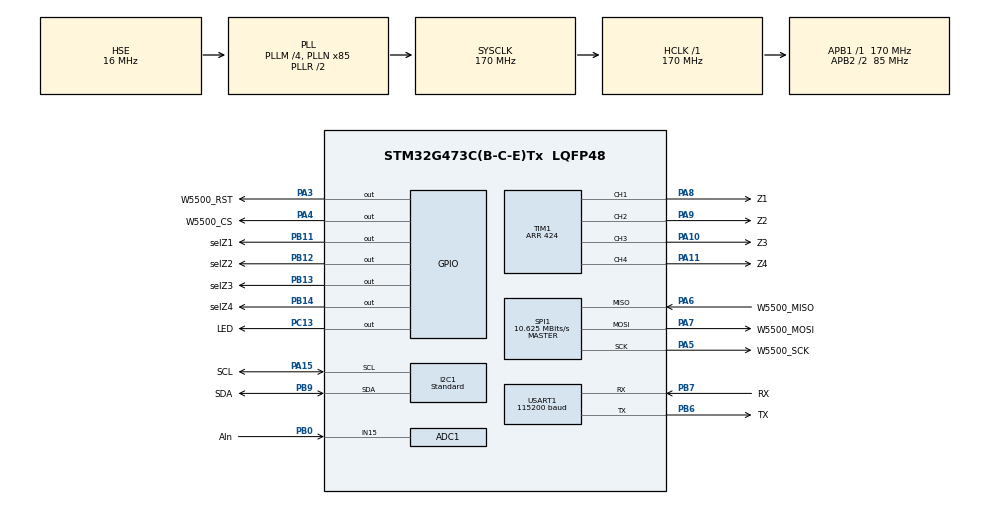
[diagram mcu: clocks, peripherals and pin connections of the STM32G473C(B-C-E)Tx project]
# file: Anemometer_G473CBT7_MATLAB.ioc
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ADC1.Channel-0\#ChannelRegularConversion=ADC_CHANNEL_15
ADC1.ContinuousConvMode=ENABLE
ADC1.DMAContinuousRequests=ENABLE
ADC1.EOCSelection=ADC_EOC_SEQ_CONV
ADC1.ExternalTrigConv=ADC_EXTERNALTRIG_T3_TRGO
ADC1.Mode=ADC_MODE_INDEPENDENT
ADC1.NbrOfConversionFlag=1
ADC1.OffsetNumber-0\#ChannelRegularConversion=ADC_OFFSET_NONE
ADC1.Rank-0\#ChannelRegularConversion=1
ADC1.Resolution=ADC_RESOLUTION_10B
ADC1.SamplingTime-0\#ChannelRegularConversion=ADC_SAMPLETIME_2CYCLES_5
ADC1.master=1
Dma.ADC1.0.Direction=DMA_PERIPH_TO_MEMORY
Dma.ADC1.0.EventEnable=DISABLE
Dma.ADC1.0.Instance=DMA1_Channel1
Dma.ADC1.0.MemDataAlignment=DMA_MDATAALIGN_HALFWORD
Dma.ADC1.0.MemInc=DMA_MINC_ENABLE
Dma.ADC1.0.Mode=DMA_NORMAL
Dma.ADC1.0.PeriphDataAlignment=DMA_PDATAALIGN_HALFWORD
Dma.ADC1.0.PeriphInc=DMA_PINC_DISABLE
Dma.ADC1.0.Polarity=HAL_DMAMUX_REQ_GEN_RISING
Dma.ADC1.0.Priority=DMA_PRIORITY_LOW
Dma.ADC1.0.RequestNumber=1
Dma.ADC1.0.SignalID=NONE
Dma.ADC1.0.SyncEnable=DISABLE
Dma.ADC1.0.SyncPolarity=HAL_DMAMUX_SYNC_NO_EVENT
Dma.ADC1.0.SyncRequestNumber=1
Dma.ADC1.0.SyncSignalID=NONE
Dma.Request0=ADC1
I2C1.I2C_Speed_Mode=I2C_Standard
I2C1.Timing=0x30A0A7FB
IWDG.Prescaler=IWDG_PRESCALER_256
Mcu.Family=STM32G4
Mcu.Name=STM32G473C(B-C-E)Tx
Mcu.Package=LQFP48
NVIC.DMA1_Channel1_IRQn=true\:0\:0\:false\:false\:true\:false\:true\:true
NVIC.PriorityGroup=NVIC_PRIORITYGROUP_4
NVIC.TIM3_IRQn=true\:0\:0\:false\:false\:true\:true\:true\:true
NVIC.TIM4_IRQn=true\:0\:0\:false\:false\:true\:true\:true\:true
PA10.GPIO_Label=Z3
PA10.Signal=S_TIM1_CH3
PA11.GPIO_Label=Z4
PA11.Signal=S_TIM1_CH4
PA15.GPIO_Label=SCL
PA15.GPIO_Pu=GPIO_PULLUP
PA15.Mode=I2C
PA15.Signal=I2C1_SCL
PA3.GPIO_Label=W5500_RST
PA3.Signal=GPIO_Output
PA4.GPIO_Label=W5500_CS
PA4.Signal=GPIO_Output
PA5.GPIO_Label=W5500_SCK
PA5.Mode=Full_Duplex_Master
PA5.Signal=SPI1_SCK
PA6.GPIO_Label=W5500_MISO
PA6.Mode=Full_Duplex_Master
PA6.Signal=SPI1_MISO
PA7.GPIO_Label=W5500_MOSI
PA7.Mode=Full_Duplex_Master
PA7.Signal=SPI1_MOSI
PA8.GPIO_Label=Z1
PA8.Signal=S_TIM1_CH1
PA9.GPIO_Label=Z2
PA9.Signal=S_TIM1_CH2
PB0.GPIO_Label=AIn
PB0.Mode=IN15-Single-Ended
PB0.Signal=ADC1_IN15
PB11.GPIO_Label=selZ1
PB11.Signal=GPIO_Output
PB12.GPIO_Label=selZ2
PB12.Signal=GPIO_Output
PB13.GPIO_Label=selZ3
PB13.Signal=GPIO_Output
PB14.GPIO_Label=selZ4
PB14.Signal=GPIO_Output
PB6.GPIO_Label=TX
PB6.Mode=Asynchronous
PB6.Signal=USART1_TX
PB7.GPIO_Label=RX
PB7.Mode=Asynchronous
PB7.Signal=USART1_RX
PB9.GPIO_Label=SDA
PB9.GPIO_Pu=GPIO_PULLUP
PB9.Mode=I2C
PB9.Signal=I2C1_SDA
PC13.GPIO_Label=LED
PC13.Signal=GPIO_Output
PF0-OSC_IN.Mode=HSE-External-Oscillator
PF0-OSC_IN.Signal=RCC_OSC_IN
PF1-OSC_OUT.Mode=HSE-External-Oscillator
PF1-OSC_OUT.Signal=RCC_OSC_OUT
ProjectManager.HeapSize=0x200
ProjectManager.StackSize=0x400
ProjectManager.TargetToolchain=STM32CubeIDE
RCC.ADC12Freq_Value=170000000
RCC.ADC345Freq_Value=170000000
RCC.AHBFreq_Value=170000000
RCC.APB1Freq_Value=170000000
RCC.APB1TimFreq_Value=170000000
RCC.APB2CLKDivider=RCC_HCLK_DIV2
RCC.APB2Freq_Value=85000000
RCC.APB2TimFreq_Value=170000000
RCC.CortexFreq_Value=170000000
RCC.EXTERNAL_CLOCK_VALUE=12288000
RCC.HCLKFreq_Value=170000000
RCC.HSE_VALUE=16000000
RCC.HSI48_VALUE=48000000
RCC.HSI_VALUE=16000000
RCC.LSE_VALUE=32768
RCC.PLLM=RCC_PLLM_DIV4
RCC.PLLN=85
RCC.PLLSourceVirtual=RCC_PLLSOURCE_HSE
RCC.SYSCLKFreq_VALUE=170000000
RCC.SYSCLKSource=RCC_SYSCLKSOURCE_PLLCLK
RCC.USART1CLockSelection=RCC_USART1CLKSOURCE_HSI
RCC.USBFreq_Value=170000000
RCC.VCOOutputFreq_Value=340000000
SH.S_TIM1_CH1.0=TIM1_CH1,Output Compare1 CH1
SH.S_TIM1_CH2.0=TIM1_CH2,Output Compare2 CH2
SH.S_TIM1_CH3.0=TIM1_CH3,Output Compare3 CH3
SH.S_TIM1_CH4.0=TIM1_CH4,Output Compare4 CH4
SPI1.BaudRatePrescaler=SPI_BAUDRATEPRESCALER_8
SPI1.CLKPhase=SPI_PHASE_1EDGE
SPI1.CalculateBaudRate=10.625 MBits/s
SPI1.DataSize=SPI_DATASIZE_8BIT
SPI1.Direction=SPI_DIRECTION_2LINES
SPI1.Mode=SPI_MODE_MASTER
SPI1.NSSPMode=SPI_NSS_PULSE_DISABLE
SPI1.VirtualType=VM_MASTER
TIM1.AutoReloadPreload=TIM_AUTORELOAD_PRELOAD_ENABLE
TIM1.Channel-Output\ Compare1\ CH1=TIM_CHANNEL_1
TIM1.Channel-Output\ Compare2\ CH2=TIM_CHANNEL_2
TIM1.Channel-Output\ Compare3\ CH3=TIM_CHANNEL_3
TIM1.Channel-Output\ Compare4\ CH4=TIM_CHANNEL_4
TIM1.OCMode_1=TIM_OCMODE_TOGGLE
TIM1.OCMode_2=TIM_OCMODE_TOGGLE
TIM1.OCMode_3=TIM_OCMODE_TOGGLE
TIM1.OCMode_4=TIM_OCMODE_TOGGLE
TIM1.PeriodNoDither=424
TIM1.RepetitionCounter=13
TIM1.TIM_MasterOutputTrigger=TIM_TRGO_ENABLE
TIM1.TIM_MasterOutputTrigger2=TIM_TRGO2_RESET
TIM3.AutoReloadPreload=TIM_AUTORELOAD_PRELOAD_ENABLE
TIM3.Channel-Output\ Compare1\ No\ Output=TIM_CHANNEL_1
TIM3.OCMode_1=TIM_OCMODE_ACTIVE
TIM3.PeriodNoDither=30000
TIM3.Prescaler=1
TIM3.TIM_MasterOutputTrigger=TIM_TRGO_UPDATE
TIM4.Prescaler=2
USART1.BaudRate=115200
USART1.VirtualMode-Asynchronous=VM_ASYNC
VP_IWDG_VS_IWDG.Mode=IWDG_Activate
VP_TIM1_VS_ClockSourceINT.Mode=Internal
VP_TIM1_VS_OPM.Mode=OPM_bit
VP_TIM3_VS_ClockSourceINT.Mode=Internal
VP_TIM3_VS_ClockSourceITR.Mode=TriggerSource_ITR0
VP_TIM3_VS_ControllerModeTrigger.Mode=Trigger Mode
VP_TIM3_VS_OPM.Mode=OPM_bit
VP_TIM3_VS_no_output1.Mode=Output Compare1 No Output
VP_TIM4_VS_ClockSourceINT.Mode=Internal
board=custom

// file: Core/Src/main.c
/* USER CODE BEGIN Header */
/**
  ******************************************************************************
  * @file           : main.c
  * @brief          : Main program body
  ******************************************************************************
  * @attention
  *
  * Copyright (c) 2023 STMicroelectronics.
  * All rights reserved.
  *
  * This software is licensed under terms that can be found in the LICENSE file
  * in the root directory of this software component.
  * If no LICENSE file comes with this software, it is provided AS-IS.
  *
  ******************************************************************************
  */
/* USER CODE END Header */
#include "main.h"

ADC_HandleTypeDef hadc1;
DMA_HandleTypeDef hdma_adc1;

I2C_HandleTypeDef hi2c1;

IWDG_HandleTypeDef hiwdg;

SPI_HandleTypeDef hspi1;

TIM_HandleTypeDef htim1;
TIM_HandleTypeDef htim3;
TIM_HandleTypeDef htim4;

UART_HandleTypeDef huart1;

/* USER CODE BEGIN PV */
uint8_t currentLevel = 0;
char SndBuffer[150];
float convArray[CONVERSION_COUNT + REF_COUNT], hilbertArray[CONVERSION_COUNT + REF_COUNT], temperature, pressurePA, pressure, humidity, Vsound, Vcapture, Vhilbert;
char ZabbixHostName[255];

#ifdef ZABBIX_ENABLE
wiz_NetInfo net_info = {
	.mac  = { MAC_ADDRESS },
	.dhcp = NETINFO_DHCP
};
uint8_t ntp_server[4] = {192, 168, 1, 1};
uint8_t gDATABUF[DATA_BUF_SIZE];
datetime timeNTP;
#endif

/* USER CODE END PV */

void SystemClock_Config(void);
static void MX_GPIO_Init(void);
static void MX_DMA_Init(void);
static void MX_ADC1_Init(void);
static void MX_I2C1_Init(void);
static void MX_TIM1_Init(void);
static void MX_USART1_UART_Init(void);
static void MX_TIM3_Init(void);
static void MX_TIM4_Init(void);
static void MX_SPI1_Init(void);
static void MX_IWDG_Init(void);

/* USER CODE BEGIN 0 */
#ifdef  AD5245
/* Управление усилением от 0 до 254 */
void AD5245level(uint8_t lev) {
	uint8_t cmdBuff[2];
	uint16_t cmd = AD5245_WRITE;
	cmdBuff[0] = lev;
	HAL_I2C_Mem_Write(&AD5245_I2C_PORT, AD5245_I2C_ADDR, cmd, 2, cmdBuff, 1, 100);
}
#endif

float refArray[] =
{
		2.28, 138.9, 259.46, 341.44, 371.37, 343.68, 262.94, 140.04, -3.19, -152.73, -279.78, -363.84, -393.94, -359.52,
		-270.72, -140.36, 14.56, 172.63, 308.52, 397.91, 425.98, 386.86, 288.47, 145.38, -19.68, -182.24, -320.15, -407.98,
		-435.57, -390.93, -287.65, -139.02, 32.45, 205.05, 349.22, 438.44, 458.1, 406.8, 293.49, 134.79, -44.07, -217.9,
		-359.9, -445.68, -462.97, -405.04, -287.03, -124.67, 60.95, 241.26, 386.1, 468.68, 476.66, 409.93, 280.64, 108.21,
		-80.78, -258.3, -394.98, -471.05, -470.27, -394.48, -259.97, -84.96, 106.47, 284.93, 419.91, 485.95, 473.47, 385.76,
		239.06, 57, -135.29, -301.7, -419.09, -473.45, -448.32, -353.63, -206.27, -26.62, 161.84, 325.34, 436.21, 473.4,
		434.69, 326.85, 170.75, -9.88, -186.54, -333.22, -422.28, -446.07, -395.94, -284.51, -132.44, 41.1, 210.02, 343.13,
		418.44, 424.17, 362.02, 244.03, 89.94, -74.61, -224.34, -337.17, -392.04, -383.43, -314.1, -198.75, -55, 94.86,
		229, 323.18, 362.81, 342.79, 269.26, 155.4, 20.71, -112.07, -224.6, -298.31, -321.97, -294.18, -223.14, -120.4,
		-2.81, 113.04, 208.17, 266.86, 281.61, 250.84, 182.99, 89.89, -12.97, -108.2, -185.37, -230.21, -238.69, -210.58

};

#ifdef ZABBIX_ENABLE

#ifdef ZABBIX_DEBUG
void UART_Printf(const char* fmt, ...) {
	char buff[256];
	va_list args;
	va_start(args, fmt);
	vsnprintf(buff, sizeof(buff), fmt, args);
	HAL_UART_Transmit(&huart1, (uint8_t*) buff, strlen(buff), HAL_MAX_DELAY);
	va_end(args);
}
#endif

void W5500_Select(void) {
	HAL_GPIO_WritePin(W5500_CS_GPIO_Port, W5500_CS_Pin, GPIO_PIN_RESET);
}

void W5500_Unselect(void) {
	HAL_GPIO_WritePin(W5500_CS_GPIO_Port, W5500_CS_Pin, GPIO_PIN_SET);
}

void W5500_ReadBuff(uint8_t* buff, uint16_t len) {
	HAL_SPI_Receive(&hspi1, buff, len, HAL_MAX_DELAY);
}

void W5500_WriteBuff(uint8_t* buff, uint16_t len) {
	HAL_SPI_Transmit(&hspi1, buff, len, HAL_MAX_DELAY);
}

uint8_t W5500_ReadByte(void) {
	uint8_t byte;
	W5500_ReadBuff(&byte, sizeof(byte));
	return byte;
}

void W5500_WriteByte(uint8_t byte) {
	W5500_WriteBuff(&byte, sizeof(byte));
}

volatile bool ip_assigned = false;

void Callback_IPAssigned(void) {
#ifdef ZABBIX_DEBUG
	UART_Printf("Callback: IP assigned! Leased time: %d sec\r\n", getDHCPLeasetime());
#endif
    ip_assigned = true;
}

void Callback_IPConflict(void) {
#ifdef ZABBIX_DEBUG
    UART_Printf("Callback: IP conflict!\r\n");
#endif
}

// 1K should be enough, see https://forum.wiznet.io/t/topic/1612/2
uint8_t dhcp_buffer[1024];
// 1K seems to be enough for this buffer as well
//uint8_t dns_buffer[1024];

/*
 * addr -- IP address zabbix server, dhcp option 224.
 * Settings for isc-dhcp-server:
 * 		option zabbix-server-ip code 224 = ip-address ;
 * 		option zabix-host-name code 225 = string ;
 * 		host anemometr {
 *      	hardware ethernet 00:11:22:33:44:xx;
 *      	fixed-address 192.168.1.24;
 *       	option zabbix-server-ip 192.168.1.6;
 *       	option zabix-host-name "Ed";
 * 		}
 *
 * key -- Zabbix key: {ALTIM_DIRECT, ALTIM_SPEED}
 *
 * value -- Float value of key.
*/
uint8_t sendToZabbix(uint8_t * addr, char * host, char * key, float value) {
#ifdef ZABBIX_DEBUG
    UART_Printf("Creating socket...\r\n");
#endif
    uint8_t tcp_socket = TCP_SOCKET;
    uint8_t code = socket(tcp_socket, Sn_MR_TCP, 10888, 0);
    if(code != tcp_socket) {
	#ifdef ZABBIX_DEBUG
        UART_Printf("socket() failed, code = %d\r\n", code);
	#endif
        return(-1);
    }
#ifdef ZABBIX_DEBUG
    UART_Printf("Socket created, connecting...\r\n");
#endif
    code = connect(tcp_socket, addr, ZABBIXPORT);
    if(code != SOCK_OK) {
	#ifdef ZABBIX_DEBUG
        UART_Printf("connect() failed, code = %d\r\n", code);
	#endif
        close(tcp_socket);
        return(-2);
    }
#ifdef ZABBIX_DEBUG
    UART_Printf("Connected, sending ZABBIX request...\r\n");
#endif
    {
    	char req[ZABBIXMAXLEN];
    	char str[ZABBIXMAXLEN - 13];
    	sprintf(str, "{\"request\":\"sender data\",\"data\":[{\"host\":\"%.20s\",\"key\":\"%s\",\"value\":\"%f\"}]}", host, key, value);
    	req[0] = 'Z';
    	req[1] = 'B';
		req[2] = 'X';
		req[3] = 'D';
		req[4] = 0x01;
		req[5] = strlen(str);
		req[6] = 0;
		req[7] = 0;
		req[8] = 0;
		req[9] = 0;
		req[10] = 0;
		req[11] = 0;
		req[12] = 0;
		strcpy(req + 13, str);
        //char req[] = "ZBXD\1\0\0\0\0\0\0\0\0{\"request\":\"sender data\",\"data\":[{\"host\":\"Ed\",\"key\":\"ALTIM_DIRECT\",\"value\":\"10\"}]}";
        uint8_t len = req[5] + 13;
        uint8_t* buff = (uint8_t*)&req;
        while(len > 0) {
		#ifdef ZABBIX_DEBUG
            UART_Printf("Sending %d bytes, data length %d bytes...\r\n", len, req[5]);
		#endif
            int32_t nbytes = send(tcp_socket, buff, len);
            if(nbytes <= 0) {
			#ifdef ZABBIX_DEBUG
                UART_Printf("send() failed, %d returned\r\n", nbytes);
			#endif
                close(tcp_socket);
                return(-3);
            }
			#ifdef ZABBIX_DEBUG
            UART_Printf("%d b sent!\r\n", nbytes);
			#endif
            len -= nbytes;
        }
    }
    /* Read data from Zabbix */
	#ifdef ZABBIX_DEBUG
		UART_Printf("Read.\r\n");
		{
			char buff[32];
			for(;;) {
				int32_t nbytes = recv(tcp_socket, (uint8_t*)&buff, sizeof(buff)-1);
				if(nbytes == SOCKERR_SOCKSTATUS) {
					UART_Printf("\r\nDisconnect.\r\n");
					break;
				}

				if(nbytes <= 0) {
					UART_Printf("\r\nrecv() failed, %d\r\n", nbytes);
					break;
				}

				buff[nbytes] = '\0';
				UART_Printf("%s", buff);
			}
		}

		UART_Printf("Closing socket.\r\n");
	#endif
    close(tcp_socket);
    return(0);
}

void init_w5500() {
	#ifdef ZABBIX_DEBUG
    UART_Printf("\r\ninit() called!\r\n");
    UART_Printf("W5500 callbacks...\r\n");
	#endif
    reg_wizchip_cs_cbfunc(W5500_Select, W5500_Unselect);
    reg_wizchip_spi_cbfunc(W5500_ReadByte, W5500_WriteByte);
    reg_wizchip_spiburst_cbfunc(W5500_ReadBuff, W5500_WriteBuff);
	#ifdef ZABBIX_DEBUG
    UART_Printf("wizchip_init()...\r\n");
	#endif
    uint8_t rx_tx_buff_sizes[] = {2, 2, 2, 2, 2, 2, 2, 2};
    wizchip_init(rx_tx_buff_sizes, rx_tx_buff_sizes);
	#ifdef ZABBIX_DEBUG
    UART_Printf("DHCP_init()...\r\n");
	#endif

    // set MAC address before using DHCP
    setSHAR(net_info.mac);
    DHCP_init(DHCP_SOCKET, dhcp_buffer);
	#ifdef ZABBIX_DEBUG
    UART_Printf("DHCP callbacks...\r\n");
	#endif
    reg_dhcp_cbfunc(Callback_IPAssigned, Callback_IPAssigned, Callback_IPConflict);
	#ifdef ZABBIX_DEBUG
    UART_Printf("DHCP_run()...\r\n");
	#endif
    // actually should be called in a loop, e.g. by timer
    uint32_t ctr = 10000;
    while((!ip_assigned) && (ctr > 0)) {
        DHCP_run();
        ctr--;
        HAL_Delay(300);
    }
    if(!ip_assigned) {
		#ifdef ZABBIX_DEBUG
        UART_Printf("\r\nIP was not assigned :(\r\n");
		#endif
        return;
    }

    getIPfromDHCP(net_info.ip);
    getGWfromDHCP(net_info.gw);
    getSNfromDHCP(net_info.sn);
    getZABBIXfromDHCP(net_info.zabbix);
    getHostNamefromDHCP(net_info.hostname);
    //getTimeSrvfromDHCP(net_info.tmsrv);
    if (net_info.hostname[0] == '\0') {
    	sprintf(ZabbixHostName, "%s", ZABBIXAGHOST);
    } else {
    	sprintf(ZabbixHostName, "%s", net_info.hostname);
    }

    //uint8_t dns[4];
    //getDNSfromDHCP(dns);
	#ifdef ZABBIX_DEBUG
    UART_Printf("IP:  %d.%d.%d.%d\r\nGW:  %d.%d.%d.%d\r\nNet: %d.%d.%d.%d\r\nZabbix: %d.%d.%d.%d\r\nHostName:%s\r\n",
        net_info.ip[0], net_info.ip[1], net_info.ip[2], net_info.ip[3],
        net_info.gw[0], net_info.gw[1], net_info.gw[2], net_info.gw[3],
        net_info.sn[0], net_info.sn[1], net_info.sn[2], net_info.sn[3],
        net_info.zabbix[0], net_info.zabbix[1], net_info.zabbix[2], net_info.zabbix[3],
		ZabbixHostName
    );
    UART_Printf("Calling wizchip_setnetinfo()...\r\n");
	#endif
    wizchip_setnetinfo(&net_info);

}
#endif

/* USER CODE END 0 */

int main(void)
{

  /* MCU Configuration--------------------------------------------------------*/

  /* Reset of all peripherals, Initializes the Flash interface and the Systick. */
  HAL_Init();

  /* Configure the system clock */
  SystemClock_Config();

  /* Initialize all configured peripherals */
  MX_GPIO_Init();
  MX_DMA_Init();
  MX_ADC1_Init();
  MX_I2C1_Init();
  MX_TIM1_Init();
  MX_USART1_UART_Init();
  MX_TIM3_Init();
  MX_TIM4_Init();
  MX_SPI1_Init();
  MX_IWDG_Init();
  /* USER CODE BEGIN 2 */
  HAL_GPIO_WritePin(LED_GPIO_Port, LED_Pin, GPIO_PIN_SET);
  HAL_UART_Transmit(&huart1, (uint8_t *) START_TEXT, sizeof(START_TEXT), 1000);
  /* AD5245 */
	#ifdef AD5245
  	  HAL_UART_Transmit(&huart1, (uint8_t *) AD5245_INIT_TEXT, sizeof(AD5245_INIT_TEXT), 1000);
	  currentLevel = 0;
	  AD5245level(currentLevel);
	#endif
	#ifdef BME280_ENABLE
	  HAL_UART_Transmit(&huart1, (uint8_t *) BME280_INIT_TEXT, sizeof(BME280_INIT_TEXT), 1000);
	  BME280_Init();
	  HAL_UART_Transmit(&huart1, (uint8_t *) INIT_OK, sizeof(INIT_OK), 1000);
	#endif

	HAL_GPIO_WritePin(W5500_CS_GPIO_Port, W5500_CS_Pin, GPIO_PIN_SET);
	HAL_GPIO_WritePin(W5500_RST_GPIO_Port, W5500_RST_Pin, GPIO_PIN_RESET);	// Reset W5500
	#ifdef ZABBIX_ENABLE
	HAL_UART_Transmit(&huart1, (uint8_t *) W5500_INIT_TEXT, sizeof(W5500_INIT_TEXT), 1000);
	HAL_GPIO_WritePin(W5500_RST_GPIO_Port, W5500_RST_Pin, GPIO_PIN_SET);
	//HAL_GPIO_WritePin(W5500_CS_GPIO_Port, W5500_CS_Pin, GPIO_PIN_RESET);
	HAL_Delay(3000);
	init_w5500();
    HAL_UART_Transmit(&huart1, (uint8_t *) INIT_OK, sizeof(INIT_OK), 1000);
	//if (net_info.tmsrv[0] == 0) {
	//	  SNTP_init(0, ntp_server, 28, gDATABUF);
	//} else {
	//	  SNTP_init(0, net_info.tmsrv, 28, gDATABUF);
	//}
	#endif
  /* USER CODE END 2 */

  /* Infinite loop */
  /* USER CODE BEGIN WHILE */
  HAL_UART_Transmit(&huart1, (uint8_t *) ADC_TMR_INIT_TEXT, sizeof(ADC_TMR_INIT_TEXT), 1000);
  TIM3->ARR = MEASURMENT_DELAY;

  HAL_GPIO_WritePin(selZ1_GPIO_Port, selZ1_Pin, GPIO_PIN_RESET);
  HAL_GPIO_WritePin(selZ2_GPIO_Port, selZ2_Pin, GPIO_PIN_RESET);
  HAL_GPIO_WritePin(selZ3_GPIO_Port, selZ3_Pin, GPIO_PIN_RESET);
  HAL_GPIO_WritePin(selZ4_GPIO_Port, selZ4_Pin, GPIO_PIN_RESET);

  if ( (HAL_ADCEx_Calibration_Start(&hadc1, ADC_SINGLE_ENDED) == HAL_OK)
	&& (HAL_TIM_Base_Start_IT(&htim3) == HAL_OK)
	&& (HAL_TIM_Base_Start_IT(&htim4) == HAL_OK) ) {
	  HAL_UART_Transmit(&huart1, (uint8_t *) INIT_OK, sizeof(INIT_OK), 1000);
  } else {
	  HAL_UART_Transmit(&huart1, (uint8_t *) ERROR_TEXT, sizeof(ERROR_TEXT), 1000);
	  HAL_Delay(1000);
	  HAL_NVIC_SystemReset();
  }

  HAL_UART_Transmit(&huart1, (uint8_t *) FINISH_TEXT, sizeof(FINISH_TEXT), 1000);
  HAL_GPIO_WritePin(LED_GPIO_Port, LED_Pin, GPIO_PIN_RESET);
  while (1)
  {
	  if (readyData) {
		  readyData = false;
		  HAL_IWDG_Refresh(&hiwdg);
		  HAL_TIM_Base_Stop_IT(&htim4);
		  memset(SndBuffer, 0, sizeof(SndBuffer));
		  for (int ii = 0; ii < CONVERSION_COUNT; ii++) {
			measArray[ii] = measArray[ii] / MEASURE_COUNT - avgLevel;
		  }

		  maxIdxAmp = maxEnvHilbert(measArray, refArray);
		  #ifdef RAW_DATA_OUT
		  //for (int ii = 0; ii < CONVERSION_COUNT + REF_COUNT; ii++) {
			//	sprintf(SndBuffer, "%6.2f \n\r", convArray[ii]);

		  for (int ii = 0; ii < CONVERSION_COUNT; ii++) {
				sprintf(SndBuffer, "%6.2f \n\r", measArray[ii]);
				HAL_UART_Transmit(&huart1, (uint8_t *) SndBuffer, sizeof(SndBuffer), 1000);
		  }
		  HAL_UART_Transmit(&huart1, (uint8_t *) "---\n\r", sizeof("---\n\r"), 1000);
		  #else
		  #ifdef BME280_ENABLE
		  temperature = BME280_ReadTemperature();
		  pressurePA = BME280_ReadPressure();
		  pressure = pressurePA * 0.00750063755419211f;
		  humidity = BME280_ReadHumidity();
		  #endif

		  Vhilbert = DISTANCE * 1000.0f / (MEASURMENT_DELAY * 2 / 170.0f + maxIdxAmp * SAMPLE_RATE - SAMPLE_RATE * REF_COUNT);
		  Vsound = sqrt(1.4 * 8.31446262 * (temperature + ABS_ZERRO) / (0.02898 - 1840000 * exp(-5330 / (temperature + ABS_ZERRO)) * 10.944 / pressurePA * humidity));
		  sprintf(SndBuffer, "Idx:%5.2f, avgLev:%6.2f, Vh:%5.2f, Vs: %5.2f, T: %4.1f, P: %4.1f, H: %4.1f  \r",
				  maxIdxAmp, avgLevel,
				  Vhilbert, Vsound,
				  temperature, pressure, humidity);
		  HAL_UART_Transmit(&huart1, (uint8_t *) SndBuffer, sizeof(SndBuffer), 1000);
		  #endif
		  HAL_TIM_Base_Start_IT(&htim4);
		  //sumCaptureTIM2 = 0;
	  }
	  HAL_Delay(50);
    /* USER CODE END WHILE */

  }
}

void SystemClock_Config(void)
{
  RCC_OscInitTypeDef RCC_OscInitStruct = {0};
  RCC_ClkInitTypeDef RCC_ClkInitStruct = {0};

  /** Configure the main internal regulator output voltage
  */
  HAL_PWREx_ControlVoltageScaling(PWR_REGULATOR_VOLTAGE_SCALE1_BOOST);

  /** Initializes the RCC Oscillators according to the specified parameters
  * in the RCC_OscInitTypeDef structure.
  */
  RCC_OscInitStruct.OscillatorType = RCC_OSCILLATORTYPE_HSI|RCC_OSCILLATORTYPE_LSI
                              |RCC_OSCILLATORTYPE_HSE;
  RCC_OscInitStruct.HSEState = RCC_HSE_ON;
  RCC_OscInitStruct.HSIState = RCC_HSI_ON;
  RCC_OscInitStruct.HSICalibrationValue = RCC_HSICALIBRATION_DEFAULT;
  RCC_OscInitStruct.LSIState = RCC_LSI_ON;
  RCC_OscInitStruct.PLL.PLLState = RCC_PLL_ON;
  RCC_OscInitStruct.PLL.PLLSource = RCC_PLLSOURCE_HSE;
  RCC_OscInitStruct.PLL.PLLM = RCC_PLLM_DIV4;
  RCC_OscInitStruct.PLL.PLLN = 85;
  RCC_OscInitStruct.PLL.PLLP = RCC_PLLP_DIV2;
  RCC_OscInitStruct.PLL.PLLQ = RCC_PLLQ_DIV2;
  RCC_OscInitStruct.PLL.PLLR = RCC_PLLR_DIV2;
  if (HAL_RCC_OscConfig(&RCC_OscInitStruct) != HAL_OK)
  {
    Error_Handler();
  }

  /** Initializes the CPU, AHB and APB buses clocks
  */
  RCC_ClkInitStruct.ClockType = RCC_CLOCKTYPE_HCLK|RCC_CLOCKTYPE_SYSCLK
                              |RCC_CLOCKTYPE_PCLK1|RCC_CLOCKTYPE_PCLK2;
  RCC_ClkInitStruct.SYSCLKSource = RCC_SYSCLKSOURCE_PLLCLK;
  RCC_ClkInitStruct.AHBCLKDivider = RCC_SYSCLK_DIV1;
  RCC_ClkInitStruct.APB1CLKDivider = RCC_HCLK_DIV1;
  RCC_ClkInitStruct.APB2CLKDivider = RCC_HCLK_DIV2;

  if (HAL_RCC_ClockConfig(&RCC_ClkInitStruct, FLASH_LATENCY_4) != HAL_OK)
  {
    Error_Handler();
  }
}

static void MX_ADC1_Init(void)
{

  ADC_MultiModeTypeDef multimode = {0};
  ADC_ChannelConfTypeDef sConfig = {0};

  /** Common config
  */
  hadc1.Instance = ADC1;
  hadc1.Init.ClockPrescaler = ADC_CLOCK_SYNC_PCLK_DIV4;
  hadc1.Init.Resolution = ADC_RESOLUTION_10B;
  hadc1.Init.DataAlign = ADC_DATAALIGN_RIGHT;
  hadc1.Init.GainCompensation = 0;
  hadc1.Init.ScanConvMode = ADC_SCAN_DISABLE;
  hadc1.Init.EOCSelection = ADC_EOC_SEQ_CONV;
  hadc1.Init.LowPowerAutoWait = DISABLE;
  hadc1.Init.ContinuousConvMode = ENABLE;
  hadc1.Init.NbrOfConversion = 1;
  hadc1.Init.DiscontinuousConvMode = DISABLE;
  hadc1.Init.ExternalTrigConv = ADC_EXTERNALTRIG_T3_TRGO;
  hadc1.Init.ExternalTrigConvEdge = ADC_EXTERNALTRIGCONVEDGE_RISING;
  hadc1.Init.DMAContinuousRequests = ENABLE;
  hadc1.Init.Overrun = ADC_OVR_DATA_PRESERVED;
  hadc1.Init.OversamplingMode = DISABLE;
  if (HAL_ADC_Init(&hadc1) != HAL_OK)
  {
    Error_Handler();
  }

  /** Configure the ADC multi-mode
  */
  multimode.Mode = ADC_MODE_INDEPENDENT;
  if (HAL_ADCEx_MultiModeConfigChannel(&hadc1, &multimode) != HAL_OK)
  {
    Error_Handler();
  }

  /** Configure Regular Channel
  */
  sConfig.Channel = ADC_CHANNEL_15;
  sConfig.Rank = ADC_REGULAR_RANK_1;
  sConfig.SamplingTime = ADC_SAMPLETIME_2CYCLES_5;
  sConfig.SingleDiff = ADC_SINGLE_ENDED;
  sConfig.OffsetNumber = ADC_OFFSET_NONE;
  sConfig.Offset = 0;
  if (HAL_ADC_ConfigChannel(&hadc1, &sConfig) != HAL_OK)
  {
    Error_Handler();
  }

}

static void MX_I2C1_Init(void)
{

  hi2c1.Instance = I2C1;
  hi2c1.Init.Timing = 0x30A0A7FB;
  hi2c1.Init.OwnAddress1 = 0;
  hi2c1.Init.AddressingMode = I2C_ADDRESSINGMODE_7BIT;
  hi2c1.Init.DualAddressMode = I2C_DUALADDRESS_DISABLE;
  hi2c1.Init.OwnAddress2 = 0;
  hi2c1.Init.OwnAddress2Masks = I2C_OA2_NOMASK;
  hi2c1.Init.GeneralCallMode = I2C_GENERALCALL_DISABLE;
  hi2c1.Init.NoStretchMode = I2C_NOSTRETCH_DISABLE;
  if (HAL_I2C_Init(&hi2c1) != HAL_OK)
  {
    Error_Handler();
  }

  /** Configure Analogue filter
  */
  if (HAL_I2CEx_ConfigAnalogFilter(&hi2c1, I2C_ANALOGFILTER_ENABLE) != HAL_OK)
  {
    Error_Handler();
  }

  /** Configure Digital filter
  */
  if (HAL_I2CEx_ConfigDigitalFilter(&hi2c1, 0) != HAL_OK)
  {
    Error_Handler();
  }

}

static void MX_IWDG_Init(void)
{

  hiwdg.Instance = IWDG;
  hiwdg.Init.Prescaler = IWDG_PRESCALER_256;
  hiwdg.Init.Window = 4095;
  hiwdg.Init.Reload = 4095;
  if (HAL_IWDG_Init(&hiwdg) != HAL_OK)
  {
    Error_Handler();
  }

}

static void MX_SPI1_Init(void)
{

  /* SPI1 parameter configuration*/
  hspi1.Instance = SPI1;
  hspi1.Init.Mode = SPI_MODE_MASTER;
  hspi1.Init.Direction = SPI_DIRECTION_2LINES;
  hspi1.Init.DataSize = SPI_DATASIZE_8BIT;
  hspi1.Init.CLKPolarity = SPI_POLARITY_LOW;
  hspi1.Init.CLKPhase = SPI_PHASE_1EDGE;
  hspi1.Init.NSS = SPI_NSS_SOFT;
  hspi1.Init.BaudRatePrescaler = SPI_BAUDRATEPRESCALER_8;
  hspi1.Init.FirstBit = SPI_FIRSTBIT_MSB;
  hspi1.Init.TIMode = SPI_TIMODE_DISABLE;
  hspi1.Init.CRCCalculation = SPI_CRCCALCULATION_DISABLE;
  hspi1.Init.CRCPolynomial = 7;
  hspi1.Init.CRCLength = SPI_CRC_LENGTH_DATASIZE;
  hspi1.Init.NSSPMode = SPI_NSS_PULSE_DISABLE;
  if (HAL_SPI_Init(&hspi1) != HAL_OK)
  {
    Error_Handler();
  }

}

static void MX_TIM1_Init(void)
{

  TIM_ClockConfigTypeDef sClockSourceConfig = {0};
  TIM_MasterConfigTypeDef sMasterConfig = {0};
  TIM_OC_InitTypeDef sConfigOC = {0};
  TIM_BreakDeadTimeConfigTypeDef sBreakDeadTimeConfig = {0};

  htim1.Instance = TIM1;
  htim1.Init.Prescaler = 0;
  htim1.Init.CounterMode = TIM_COUNTERMODE_UP;
  htim1.Init.Period = 424;
  htim1.Init.ClockDivision = TIM_CLOCKDIVISION_DIV1;
  htim1.Init.RepetitionCounter = 13;
  htim1.Init.AutoReloadPreload = TIM_AUTORELOAD_PRELOAD_ENABLE;
  if (HAL_TIM_Base_Init(&htim1) != HAL_OK)
  {
    Error_Handler();
  }
  sClockSourceConfig.ClockSource = TIM_CLOCKSOURCE_INTERNAL;
  if (HAL_TIM_ConfigClockSource(&htim1, &sClockSourceConfig) != HAL_OK)
  {
    Error_Handler();
  }
  if (HAL_TIM_OC_Init(&htim1) != HAL_OK)
  {
    Error_Handler();
  }
  if (HAL_TIM_OnePulse_Init(&htim1, TIM_OPMODE_SINGLE) != HAL_OK)
  {
    Error_Handler();
  }
  sMasterConfig.MasterOutputTrigger = TIM_TRGO_ENABLE;
  sMasterConfig.MasterOutputTrigger2 = TIM_TRGO2_RESET;
  sMasterConfig.MasterSlaveMode = TIM_MASTERSLAVEMODE_DISABLE;
  if (HAL_TIMEx_MasterConfigSynchronization(&htim1, &sMasterConfig) != HAL_OK)
  {
    Error_Handler();
  }
  sConfigOC.OCMode = TIM_OCMODE_TOGGLE;
  sConfigOC.Pulse = 0;
  sConfigOC.OCPolarity = TIM_OCPOLARITY_HIGH;
  sConfigOC.OCNPolarity = TIM_OCNPOLARITY_HIGH;
  sConfigOC.OCFastMode = TIM_OCFAST_DISABLE;
  sConfigOC.OCIdleState = TIM_OCIDLESTATE_RESET;
  sConfigOC.OCNIdleState = TIM_OCNIDLESTATE_RESET;
  if (HAL_TIM_OC_ConfigChannel(&htim1, &sConfigOC, TIM_CHANNEL_1) != HAL_OK)
  {
    Error_Handler();
  }
  if (HAL_TIM_OC_ConfigChannel(&htim1, &sConfigOC, TIM_CHANNEL_2) != HAL_OK)
  {
    Error_Handler();
  }
  if (HAL_TIM_OC_ConfigChannel(&htim1, &sConfigOC, TIM_CHANNEL_3) != HAL_OK)
  {
    Error_Handler();
  }
  if (HAL_TIM_OC_ConfigChannel(&htim1, &sConfigOC, TIM_CHANNEL_4) != HAL_OK)
  {
    Error_Handler();
  }
  sBreakDeadTimeConfig.OffStateRunMode = TIM_OSSR_DISABLE;
  sBreakDeadTimeConfig.OffStateIDLEMode = TIM_OSSI_DISABLE;
  sBreakDeadTimeConfig.LockLevel = TIM_LOCKLEVEL_OFF;
  sBreakDeadTimeConfig.DeadTime = 0;
  sBreakDeadTimeConfig.BreakState = TIM_BREAK_DISABLE;
  sBreakDeadTimeConfig.BreakPolarity = TIM_BREAKPOLARITY_HIGH;
  sBreakDeadTimeConfig.BreakFilter = 0;
  sBreakDeadTimeConfig.BreakAFMode = TIM_BREAK_AFMODE_INPUT;
  sBreakDeadTimeConfig.Break2State = TIM_BREAK2_DISABLE;
  sBreakDeadTimeConfig.Break2Polarity = TIM_BREAK2POLARITY_HIGH;
  sBreakDeadTimeConfig.Break2Filter = 0;
  sBreakDeadTimeConfig.Break2AFMode = TIM_BREAK_AFMODE_INPUT;
  sBreakDeadTimeConfig.AutomaticOutput = TIM_AUTOMATICOUTPUT_DISABLE;
  if (HAL_TIMEx_ConfigBreakDeadTime(&htim1, &sBreakDeadTimeConfig) != HAL_OK)
  {
    Error_Handler();
  }
  HAL_TIM_MspPostInit(&htim1);

}

static void MX_TIM3_Init(void)
{

  TIM_ClockConfigTypeDef sClockSourceConfig = {0};
  TIM_SlaveConfigTypeDef sSlaveConfig = {0};
  TIM_MasterConfigTypeDef sMasterConfig = {0};
  TIM_OC_InitTypeDef sConfigOC = {0};

  htim3.Instance = TIM3;
  htim3.Init.Prescaler = 1;
  htim3.Init.CounterMode = TIM_COUNTERMODE_UP;
  htim3.Init.Period = 30000;
  htim3.Init.ClockDivision = TIM_CLOCKDIVISION_DIV1;
  htim3.Init.AutoReloadPreload = TIM_AUTORELOAD_PRELOAD_ENABLE;
  if (HAL_TIM_Base_Init(&htim3) != HAL_OK)
  {
    Error_Handler();
  }
  sClockSourceConfig.ClockSource = TIM_CLOCKSOURCE_INTERNAL;
  if (HAL_TIM_ConfigClockSource(&htim3, &sClockSourceConfig) != HAL_OK)
  {
    Error_Handler();
  }
  if (HAL_TIM_OC_Init(&htim3) != HAL_OK)
  {
    Error_Handler();
  }
  if (HAL_TIM_OnePulse_Init(&htim3, TIM_OPMODE_SINGLE) != HAL_OK)
  {
    Error_Handler();
  }
  sSlaveConfig.SlaveMode = TIM_SLAVEMODE_TRIGGER;
  sSlaveConfig.InputTrigger = TIM_TS_ITR0;
  if (HAL_TIM_SlaveConfigSynchro(&htim3, &sSlaveConfig) != HAL_OK)
  {
    Error_Handler();
  }
  sMasterConfig.MasterOutputTrigger = TIM_TRGO_UPDATE;
  sMasterConfig.MasterSlaveMode = TIM_MASTERSLAVEMODE_DISABLE;
  if (HAL_TIMEx_MasterConfigSynchronization(&htim3, &sMasterConfig) != HAL_OK)
  {
    Error_Handler();
  }
  sConfigOC.OCMode = TIM_OCMODE_ACTIVE;
  sConfigOC.Pulse = 0;
  sConfigOC.OCPolarity = TIM_OCPOLARITY_HIGH;
  sConfigOC.OCFastMode = TIM_OCFAST_DISABLE;
  if (HAL_TIM_OC_ConfigChannel(&htim3, &sConfigOC, TIM_CHANNEL_1) != HAL_OK)
  {
    Error_Handler();
  }

}

static void MX_TIM4_Init(void)
{

  TIM_ClockConfigTypeDef sClockSourceConfig = {0};
  TIM_MasterConfigTypeDef sMasterConfig = {0};

  htim4.Instance = TIM4;
  htim4.Init.Prescaler = 2;
  htim4.Init.CounterMode = TIM_COUNTERMODE_UP;
  htim4.Init.Period = 65535;
  htim4.Init.ClockDivision = TIM_CLOCKDIVISION_DIV1;
  htim4.Init.AutoReloadPreload = TIM_AUTORELOAD_PRELOAD_DISABLE;
  if (HAL_TIM_Base_Init(&htim4) != HAL_OK)
  {
    Error_Handler();
  }
  sClockSourceConfig.ClockSource = TIM_CLOCKSOURCE_INTERNAL;
  if (HAL_TIM_ConfigClockSource(&htim4, &sClockSourceConfig) != HAL_OK)
  {
    Error_Handler();
  }
  sMasterConfig.MasterOutputTrigger = TIM_TRGO_RESET;
  sMasterConfig.MasterSlaveMode = TIM_MASTERSLAVEMODE_DISABLE;
  if (HAL_TIMEx_MasterConfigSynchronization(&htim4, &sMasterConfig) != HAL_OK)
  {
    Error_Handler();
  }

}

static void MX_USART1_UART_Init(void)
{

  huart1.Instance = USART1;
  huart1.Init.BaudRate = 115200;
  huart1.Init.WordLength = UART_WORDLENGTH_8B;
  huart1.Init.StopBits = UART_STOPBITS_1;
  huart1.Init.Parity = UART_PARITY_NONE;
  huart1.Init.Mode = UART_MODE_TX_RX;
  huart1.Init.HwFlowCtl = UART_HWCONTROL_NONE;
  huart1.Init.OverSampling = UART_OVERSAMPLING_16;
  huart1.Init.OneBitSampling = UART_ONE_BIT_SAMPLE_DISABLE;
  huart1.Init.ClockPrescaler = UART_PRESCALER_DIV1;
  huart1.AdvancedInit.AdvFeatureInit = UART_ADVFEATURE_NO_INIT;
  if (HAL_UART_Init(&huart1) != HAL_OK)
  {
    Error_Handler();
  }
  if (HAL_UARTEx_SetTxFifoThreshold(&huart1, UART_TXFIFO_THRESHOLD_1_8) != HAL_OK)
  {
    Error_Handler();
  }
  if (HAL_UARTEx_SetRxFifoThreshold(&huart1, UART_RXFIFO_THRESHOLD_1_8) != HAL_OK)
  {
    Error_Handler();
  }
  if (HAL_UARTEx_DisableFifoMode(&huart1) != HAL_OK)
  {
    Error_Handler();
  }

}

static void MX_DMA_Init(void)
{

  /* DMA controller clock enable */
  __HAL_RCC_DMAMUX1_CLK_ENABLE();
  __HAL_RCC_DMA1_CLK_ENABLE();

  /* DMA interrupt init */
  /* DMA1_Channel1_IRQn interrupt configuration */
  HAL_NVIC_SetPriority(DMA1_Channel1_IRQn, 0, 0);
  HAL_NVIC_EnableIRQ(DMA1_Channel1_IRQn);

}

static void MX_GPIO_Init(void)
{
  GPIO_InitTypeDef GPIO_InitStruct = {0};

  /* GPIO Ports Clock Enable */
  __HAL_RCC_GPIOC_CLK_ENABLE();
  __HAL_RCC_GPIOF_CLK_ENABLE();
  __HAL_RCC_GPIOA_CLK_ENABLE();
  __HAL_RCC_GPIOB_CLK_ENABLE();

  /*Configure GPIO pin Output Level */
  HAL_GPIO_WritePin(LED_GPIO_Port, LED_Pin, GPIO_PIN_RESET);

  /*Configure GPIO pin Output Level */
  HAL_GPIO_WritePin(GPIOA, W5500_RST_Pin|W5500_CS_Pin, GPIO_PIN_RESET);

  /*Configure GPIO pin Output Level */
  HAL_GPIO_WritePin(GPIOB, selZ1_Pin|selZ2_Pin|selZ3_Pin|selZ4_Pin, GPIO_PIN_RESET);

  /*Configure GPIO pin : LED_Pin */
  GPIO_InitStruct.Pin = LED_Pin;
  GPIO_InitStruct.Mode = GPIO_MODE_OUTPUT_PP;
  GPIO_InitStruct.Pull = GPIO_NOPULL;
  GPIO_InitStruct.Speed = GPIO_SPEED_FREQ_LOW;
  HAL_GPIO_Init(LED_GPIO_Port, &GPIO_InitStruct);

  /*Configure GPIO pins : W5500_RST_Pin W5500_CS_Pin */
  GPIO_InitStruct.Pin = W5500_RST_Pin|W5500_CS_Pin;
  GPIO_InitStruct.Mode = GPIO_MODE_OUTPUT_PP;
  GPIO_InitStruct.Pull = GPIO_NOPULL;
  GPIO_InitStruct.Speed = GPIO_SPEED_FREQ_LOW;
  HAL_GPIO_Init(GPIOA, &GPIO_InitStruct);

  /*Configure GPIO pins : selZ1_Pin selZ2_Pin selZ3_Pin selZ4_Pin */
  GPIO_InitStruct.Pin = selZ1_Pin|selZ2_Pin|selZ3_Pin|selZ4_Pin;
  GPIO_InitStruct.Mode = GPIO_MODE_OUTPUT_PP;
  GPIO_InitStruct.Pull = GPIO_NOPULL;
  GPIO_InitStruct.Speed = GPIO_SPEED_FREQ_LOW;
  HAL_GPIO_Init(GPIOB, &GPIO_InitStruct);

}

/* USER CODE BEGIN 4 */
/*
void HAL_TIM_IC_CaptureCallback(TIM_HandleTypeDef* htim) {
	if ((htim->Instance == TIM2) && (htim->Channel == HAL_TIM_ACTIVE_CHANNEL_2)) {
		captureTIM2 = HAL_TIM_ReadCapturedValue(&htim2, TIM_CHANNEL_2);
		if (readyCapture && (captureTIM2 > maxIdx) ) {
			sumCaptureTIM2 = sumCaptureTIM2 + captureTIM2;
			//LED_PULSE
			HAL_TIM_IC_Stop_IT(&htim2, TIM_CHANNEL_2);
			readyCapture = false;
		}
	}
}
*/
/* USER CODE END 4 */

void Error_Handler(void)
{
  __disable_irq();
  while (1)
  {
  }
}
